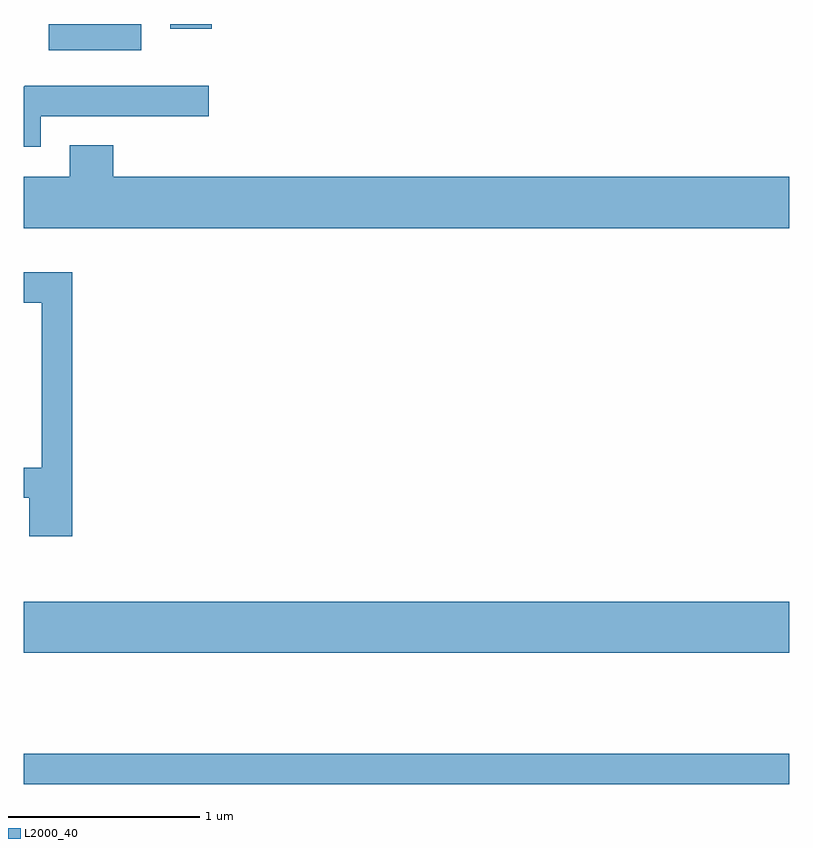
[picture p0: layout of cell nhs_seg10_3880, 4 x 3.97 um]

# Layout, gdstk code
import gdstk
lib = gdstk.Library(unit=1e-6, precision=1e-09)
def R(c, l, rs):  # rectangles x0, y0, x1, y1
    for r in rs: c.add(gdstk.rectangle(r[:2], r[2:], *l))
def P(c, l, *ps):  # polygons
    for p in ps: c.add(gdstk.Polygon(p, *l))
L2000_40 = (2000, 40)

nhs_seg10_3880 = lib.new_cell('nhs_seg10_3880')
R(nhs_seg10_3880, L2000_40, [(299.611,2126.551,303.611,2126.709), (299.611,2127.236,303.611,2127.504), (299.741,2130.386,300.224,2130.522), (300.376,2130.496,300.594,2130.522)])
P(nhs_seg10_3880, L2000_40, [(299.699,2130.041),(300.578,2130.041),(300.578,2130.199),(299.617,2130.199),(299.611,2130.193),(299.611,2129.881),(299.699,2129.881)],
  [(303.611,2129.724),(300.079,2129.724),(300.079,2129.889),(299.851,2129.889),(299.851,2129.724),(299.611,2129.724),(299.611,2129.456),(303.611,2129.456)],
  [(299.864,2129.224),(299.611,2129.224),(299.611,2129.066),(299.706,2129.066),(299.706,2128.204),(299.611,2128.204),(299.611,2128.046),(299.641,2128.046),(299.641,2127.846),(299.864,2127.846)])

lib.write_gds('nhs_seg10_3880.gds')
